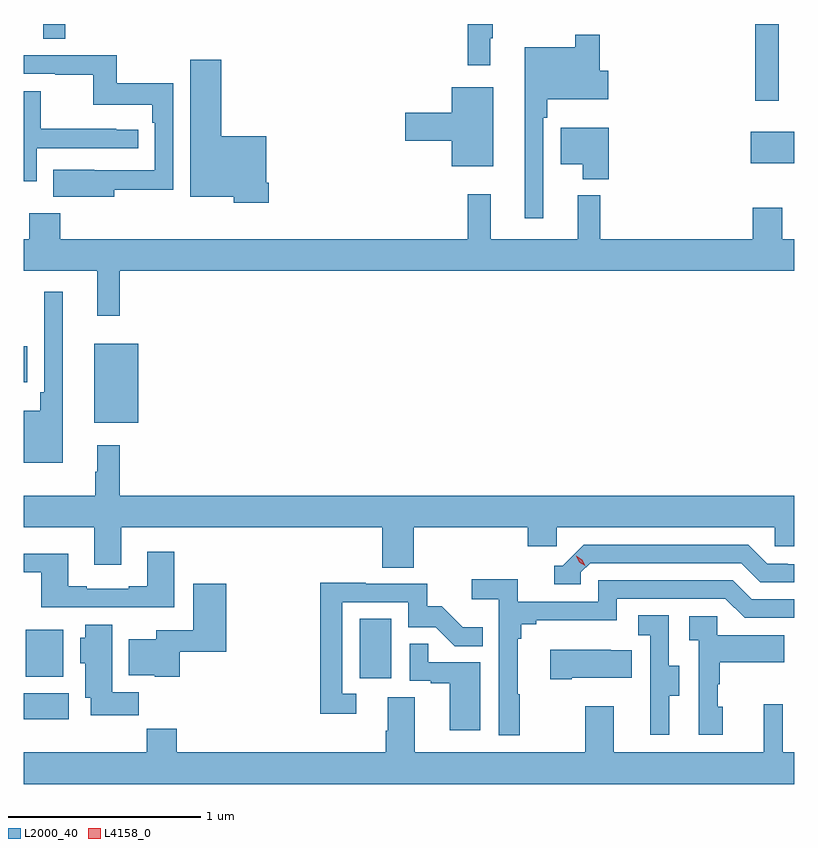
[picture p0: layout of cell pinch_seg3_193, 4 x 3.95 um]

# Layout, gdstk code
import gdstk
lib = gdstk.Library(unit=1e-6, precision=1e-09)
def R(c, l, rs):  # rectangles x0, y0, x1, y1
    for r in rs: c.add(gdstk.rectangle(r[:2], r[2:], *l))
def P(c, l, *ps):  # polygons
    for p in ps: c.add(gdstk.Polygon(p, *l))
L2000_40 = (2000, 40)
L4158_0 = (4158, 0)

pinch_seg3_193 = lib.new_cell('pinch_seg3_193')
R(pinch_seg3_193, L2000_40, [(973.433,737.216,973.666,737.35), (975.176,737.43,975.34,737.737), (973.442,737.438,973.639,737.68), (973.799,738.755,974.026,739.165), (973.433,738.965,973.45,739.153), (977.208,740.102,977.433,740.266), (977.232,740.427,977.353,740.826), (973.533,740.749,973.649,740.826)])
P(pinch_seg3_193, L2000_40, [(975.856,740.753),(975.868,740.753),(975.868,740.826),(975.739,740.826),(975.739,740.613),(975.856,740.613)],
  [(976.131,740.339),(976.151,740.339),(976.151,740.435),(976.468,740.435),(976.468,740.583),(976.424,740.583),(976.424,740.77),(976.296,740.77),(976.296,740.704),(976.034,740.704),(976.034,739.818),(976.131,739.818)],
  [(973.903,739.966),(974.208,739.966),(974.208,740.518),(973.915,740.518),(973.915,740.664),(973.433,740.664),(973.433,740.568),(973.597,740.568),(973.597,740.563),(973.794,740.563),(973.794,740.408),(974.099,740.408),(974.099,740.312),(974.112,740.312),(974.112,740.067),(973.799,740.067),(973.799,740.068),(973.585,740.068),(973.585,739.928),(973.903,739.928)],
  [(974.705,740.002),(974.692,740.002),(974.692,740.242),(974.458,740.242),(974.458,740.641),(974.297,740.641),(974.297,739.928),(974.522,739.928),(974.522,739.898),(974.705,739.898)],
  [(975.871,740.497),(975.656,740.497),(975.656,740.366),(975.414,740.366),(975.414,740.219),(975.656,740.219),(975.656,740.087),(975.871,740.087)],
  [(973.5,740.181),(974.026,740.181),(974.026,740.277),(973.913,740.277),(973.913,740.282),(973.52,740.282),(973.52,740.478),(973.433,740.478),(973.433,740.009),(973.5,740.009)],
  [(976.469,740.287),(976.22,740.287),(976.22,740.099),(976.334,740.099),(976.334,740.021),(976.469,740.021)],
  [(973.931,739.544),(977.433,739.544),(977.433,739.708),(977.371,739.708),(977.371,739.873),(977.219,739.873),(977.219,739.708),(976.427,739.708),(976.427,739.936),(976.31,739.936),(976.31,739.708),(975.857,739.708),(975.857,739.942),(975.739,739.942),(975.739,739.708),(973.622,739.708),(973.622,739.843),(973.462,739.843),(973.462,739.708),(973.433,739.708),(973.433,739.544),(973.814,739.544),(973.814,739.311),(973.931,739.311)],
  [(973.636,739.435),(973.539,739.435),(973.539,738.913),(973.519,738.913),(973.519,738.817),(973.433,738.817),(973.433,738.548),(973.636,738.548)],
  [(975.458,738.212),(976.049,738.212),(976.049,738.114),(976.2,738.114),(976.2,738.212),(977.331,738.212),(977.331,738.114),(977.433,738.114),(977.433,738.376),(973.931,738.376),(973.931,738.64),(973.814,738.64),(973.814,738.5),(973.803,738.5),(973.803,738.376),(973.433,738.376),(973.433,738.212),(973.799,738.212),(973.799,738.018),(973.939,738.018),(973.939,738.212),(975.293,738.212),(975.293,738.004),(975.458,738.004)],
  [(976.326,737.979),(976.374,738.027),(977.157,738.027),(977.256,737.928),(977.433,737.928),(977.433,738.021),(977.4,738.021),(977.4,738.024),(977.293,738.024),(977.194,738.123),(976.341,738.123),(976.23,738.012),(976.187,738.012),(976.187,737.916),(976.326,737.916)],
  [(974.215,738.085),(974.075,738.085),(974.075,737.908),(973.979,737.908),(973.979,737.895),(973.759,737.895),(973.759,737.908),(973.663,737.908),(973.663,738.076),(973.433,738.076),(973.433,737.979),(973.523,737.979),(973.523,737.799),(974.215,737.799)],
  [(976.009,737.345),(975.997,737.345),(975.997,737.633),(976.016,737.633),(976.016,737.71),(976.093,737.71),(976.093,737.729),(976.512,737.729),(976.512,737.841),(977.076,737.841),(977.175,737.742),(977.433,737.742),(977.433,737.838),(977.212,737.838),(977.113,737.937),(976.416,737.937),(976.416,737.826),(975.998,737.826),(975.998,737.942),(975.759,737.942),(975.759,737.84),(975.9,737.84),(975.9,737.133),(976.009,737.133)],
  [(975.16,737.349),(975.087,737.349),(975.087,737.823),(975.429,737.823),(975.429,737.694),(975.573,737.694),(975.671,737.596),(975.815,737.596),(975.815,737.695),(975.711,737.695),(975.604,737.802),(975.528,737.802),(975.528,737.919),(975.209,737.919),(975.209,737.924),(974.971,737.924),(974.971,737.244),(975.16,737.244)],
  [(974.243,737.567),(974.483,737.567),(974.483,737.92),(974.312,737.92),(974.312,737.677),(974.12,737.677),(974.12,737.632),(973.979,737.632),(973.979,737.444),(974.112,737.444),(974.112,737.438),(974.243,737.438)],
  [(976.783,737.338),(976.837,737.338),(976.837,737.493),(976.782,737.493),(976.782,737.756),(976.623,737.756),(976.623,737.653),(976.686,737.653),(976.686,737.349),(976.685,737.349),(976.685,737.136),(976.783,737.136)],
  [(977.062,737.28),(977.037,737.28),(977.037,737.399),(977.047,737.399),(977.047,737.513),(977.381,737.513),(977.381,737.653),(977.034,737.653),(977.034,737.751),(976.887,737.751),(976.887,737.627),(976.938,737.627),(976.938,737.136),(977.062,737.136)],
  [(974.03,737.356),(973.891,737.356),(973.891,737.707),(973.751,737.707),(973.751,737.64),(973.727,737.64),(973.727,737.508),(973.751,737.508),(973.751,737.327),(973.781,737.327),(973.781,737.238),(974.03,737.238)],
  [(975.802,737.511),(975.533,737.511),(975.533,737.609),(975.438,737.609),(975.438,737.415),(975.545,737.415),(975.545,737.403),(975.644,737.403),(975.644,737.16),(975.802,737.16)],
  [(976.279,737.432),(976.589,737.432),(976.589,737.575),(976.481,737.575),(976.481,737.578),(976.167,737.578),(976.167,737.425),(976.279,737.425)],
  [(977.433,737.044),(977.373,737.044),(977.373,737.293),(977.276,737.293),(977.276,737.044),(976.495,737.044),(976.495,737.284),(976.348,737.284),(976.348,737.044),(975.463,737.044),(975.463,737.33),(975.323,737.33),(975.323,737.156),(975.311,737.156),(975.311,737.044),(974.228,737.044),(974.228,737.168),(974.071,737.168),(974.071,737.044),(973.433,737.044),(973.433,736.88),(977.433,736.88)])
P(pinch_seg3_193, L4158_0, [(976.349,738.012),(976.318,738.031),(976.301,738.064),(976.301,738.064),(976.302,738.064),(976.333,738.045),(976.349,738.012),(976.349,738.012)])

lib.write_gds('pinch_seg3_193.gds')
